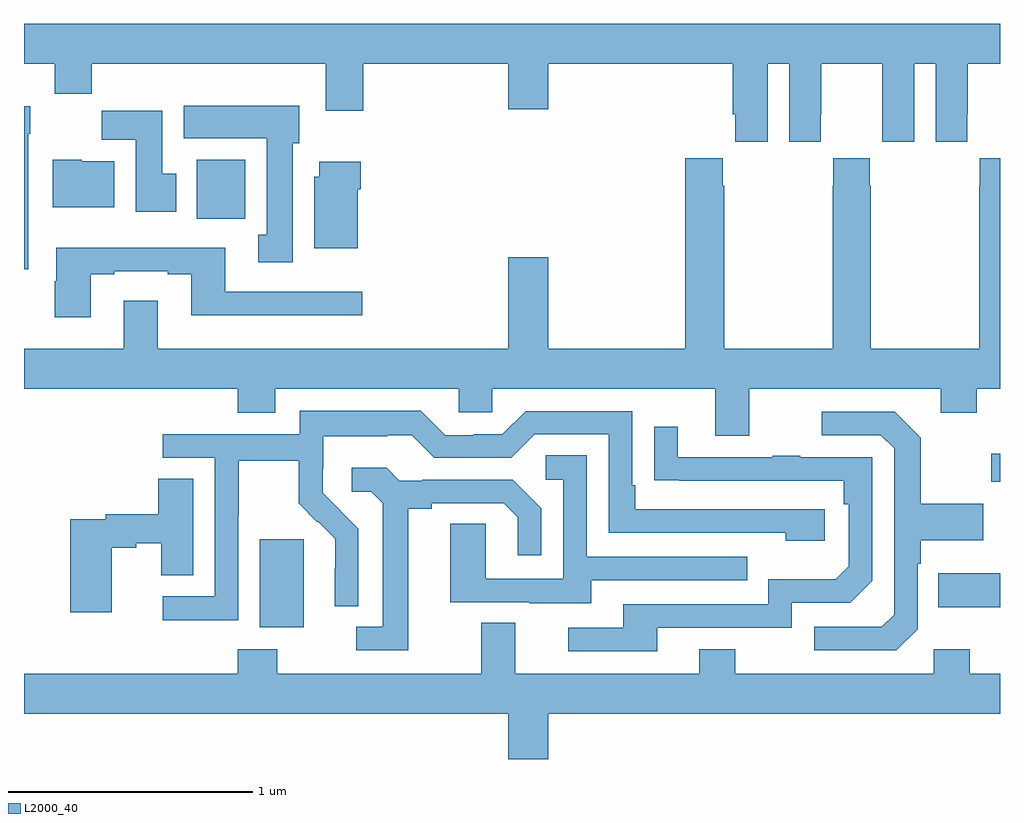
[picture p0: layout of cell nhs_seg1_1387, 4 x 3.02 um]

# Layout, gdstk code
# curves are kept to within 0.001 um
import gdstk
lib = gdstk.Library(unit=1e-6, precision=1e-09)
def R(c, l, rs):  # rectangles x0, y0, x1, y1
    for r in rs: c.add(gdstk.rectangle(r[:2], r[2:], *l))
def P(c, l, *ps):  # polygons
    for p in ps: c.add(gdstk.Polygon(p, *l))
L2000_40 = (2000, 40)

nhs_seg1_1387 = lib.new_cell('nhs_seg1_1387')
R(nhs_seg1_1387, L2000_40, [(187.967,526.778,188.146,527.139), (190.747,526.859,191,526.999), (190.965,527.375,191,527.488), (187.709,528.452,187.906,528.694)])
P(nhs_seg1_1387, L2000_40, [(190.048,529.088),(190.136,529.088),(190.136,528.768),(190.266,528.768),(190.266,528.88),(190.267,528.88),(190.267,529.088),(190.517,529.088),(190.517,528.88),(190.518,528.88),(190.518,528.768),(190.648,528.768),(190.648,529.088),(190.736,529.088),(190.736,528.768),(190.866,528.768),(190.866,528.88),(190.867,528.88),(190.867,529.088),(191,529.088),(191,529.252),(187,529.252),(187,529.088),(187.126,529.088),(187.126,528.964),(187.277,528.964),(187.277,529.088),(188.237,529.088),(188.237,528.894),(188.39,528.894),(188.39,529.088),(188.984,529.088),(188.984,528.9),(189.148,528.9),(189.148,529.088),(189.905,529.088),(189.905,528.88),(189.914,528.88),(189.914,528.768),(190.048,528.768)],
  [(188.101,528.762),(188.128,528.762),(188.128,528.916),(187.655,528.916),(187.655,528.782),(187.994,528.782),(187.994,528.386),(187.961,528.386),(187.961,528.273),(188.101,528.273)],
  [(187.018,528.8),(187.026,528.8),(187.026,528.913),(187,528.913),(187,528.246),(187.018,528.246)],
  [(187.624,528.636),(187.567,528.636),(187.567,528.895),(187.318,528.895),(187.318,528.776),(187.457,528.776),(187.457,528.48),(187.624,528.48)],
  [(189.973,527.756),(190.757,527.756),(190.757,527.657),(190.905,527.657),(190.905,527.756),(191,527.756),(191,528.7),(190.917,528.7),(190.917,528.587),(190.915,528.587),(190.915,527.92),(190.47,527.92),(190.47,528.587),(190.467,528.587),(190.467,528.7),(190.317,528.7),(190.317,528.587),(190.315,528.587),(190.315,527.92),(189.87,527.92),(189.87,528.587),(189.863,528.587),(189.863,528.7),(189.71,528.7),(189.71,527.92),(189.148,527.92),(189.148,528.295),(188.984,528.295),(188.984,527.92),(187.549,527.92),(187.549,528.115),(187.409,528.115),(187.409,527.92),(187,527.92),(187,527.756),(187.877,527.756),(187.877,527.657),(188.029,527.657),(188.029,527.756),(188.781,527.756),(188.781,527.658),(188.919,527.658),(188.919,527.756),(189.833,527.756),(189.833,527.562),(189.973,527.562)],
  [(187.369,528.688),(187.236,528.688),(187.236,528.694),(187.118,528.694),(187.118,528.5),(187.369,528.5)],
  [(188.368,528.572),(188.381,528.572),(188.381,528.685),(188.21,528.685),(188.21,528.624),(188.189,528.624),(188.189,528.332),(188.368,528.332)],
  [(187.273,528.225),(187.369,528.225),(187.369,528.237),(187.589,528.237),(187.589,528.225),(187.685,528.225),(187.685,528.056),(188.386,528.056),(188.386,528.153),(187.825,528.153),(187.825,528.334),(187.133,528.334),(187.133,528.195),(187.126,528.195),(187.126,528.048),(187.273,528.048)],
  [(187.878,527.236),(187.881,527.236),(187.881,527.46),(188.125,527.46),(188.125,527.285),(188.202,527.208),(188.205,527.211),(188.276,527.141),(188.276,527.018),(188.274,527.018),(188.274,526.864),(188.37,526.864),(188.37,527.182),(188.224,527.33),(188.224,527.427),(188.226,527.427),(188.226,527.561),(188.489,527.561),(188.489,527.565),(188.589,527.565),(188.682,527.472),(188.997,527.472),(189.093,527.568),(189.396,527.568),(189.396,527.166),(190.121,527.166),(190.121,527.132),(190.282,527.132),(190.282,527.262),(189.505,527.262),(189.505,527.359),(189.492,527.359),(189.492,527.664),(189.057,527.664),(188.961,527.568),(188.843,527.568),(188.843,527.565),(188.727,527.565),(188.627,527.665),(188.13,527.665),(188.13,527.568),(187.569,527.568),(187.569,527.472),(187.782,527.472),(187.782,526.905),(187.569,526.905),(187.569,526.807),(187.878,526.807)],
  [(190.662,526.77),(190.662,527.039),(190.675,527.039),(190.675,527.135),(190.931,527.135),(190.931,527.283),(190.675,527.283),(190.675,527.555),(190.569,527.661),(190.269,527.661),(190.269,527.565),(190.512,527.565),(190.566,527.511),(190.566,526.83),(190.515,526.779),(190.239,526.779),(190.239,526.683),(190.575,526.683)],
  [(189.595,526.776),(190.146,526.776),(190.146,526.878),(190.386,526.878),(190.476,526.968),(190.476,527.475),(190.181,527.475),(190.181,527.48),(190.069,527.48),(190.069,527.475),(189.679,527.475),(189.679,527.599),(189.583,527.599),(189.583,527.38),(190.36,527.379),(190.36,527.282),(190.38,527.282),(190.38,527.028),(190.327,526.975),(190.05,526.975),(190.05,526.872),(189.455,526.872),(189.455,526.776),(189.231,526.776),(189.231,526.68),(189.595,526.68)],
  [(189.325,526.971),(189.965,526.971),(189.965,527.067),(189.306,527.067),(189.306,527.483),(189.138,527.483),(189.138,527.382),(189.21,527.382),(189.21,526.977),(188.892,526.977),(188.892,527.201),(188.747,527.201),(188.747,526.881),(189.071,526.881),(189.071,526.877),(189.325,526.877)],
  [(188.575,527.264),(188.671,527.264),(188.671,527.286),(188.966,527.286),(189.023,527.229),(189.023,527.073),(189.12,527.073),(189.12,527.266),(189.004,527.382),(188.632,527.382),(188.632,527.379),(188.538,527.379),(188.486,527.431),(188.343,527.431),(188.343,527.334),(188.424,527.334),(188.471,527.287),(188.471,526.779),(188.361,526.779),(188.361,526.683),(188.575,526.683)],
  [(187.36,527.104),(187.461,527.104),(187.461,527.123),(187.562,527.123),(187.562,526.99),(187.693,526.99),(187.693,527.387),(187.55,527.387),(187.55,527.24),(187.336,527.24),(187.336,527.22),(187.19,527.22),(187.19,526.839),(187.36,526.839)],
  [(188.873,526.796),(188.873,526.588),(188.037,526.588),(188.037,526.687),(187.877,526.687),(187.877,526.588),(187,526.588),(187,526.424),(188.984,526.424),(188.984,526.236),(189.148,526.236),(189.148,526.424),(191,526.424),(191,526.588),(190.875,526.588),(190.875,526.687),(190.728,526.687),(190.728,526.588),(189.915,526.588),(189.915,526.687),(189.767,526.687),(189.767,526.588),(189.013,526.588),(189.013,526.796)])

lib.write_gds('nhs_seg1_1387.gds')
